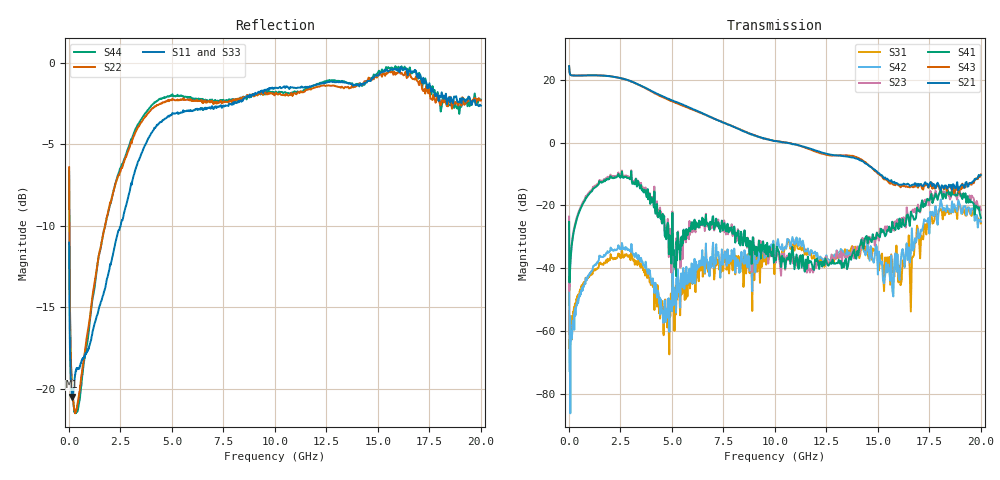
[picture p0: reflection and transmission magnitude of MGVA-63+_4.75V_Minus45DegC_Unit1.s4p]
!Mini-Circuits Laboratory
!S-Parameters
!Model: MGVA-63+
!Run / Lot / Date Code: NA / AH404P001-04 / 1348
!Fixture: NA; TB-561+
!AUTO PORT EXTENSION DONE: PORT<1>=113.62ps; PORT<2>=112.79ps; PORT<3>=112.29ps; PORT<4>=112.3ps
!Network Analyzer: PNA-X N5242A - 423 4 ports;  Serial number: 71256
!Date: 2/10/20114
!S/N: Unit# 1
!Correction: S11(Full 4 Port(1,2,3,4))
!S12(Full 4 Port(1,2,3,4))
!S13(Full 4 Port(1,2,3,4))
!S14(Full 4 Port(1,2,3,4))
!S21(Full 4 Port(1,2,3,4))
!S22(Full 4 Port(1,2,3,4))
!S23(Full 4 Port(1,2,3,4))
!S24(Full 4 Port(1,2,3,4))
!S31(Full 4 Port(1,2,3,4))
!S32(Full 4 Port(1,2,3,4))
!S33(Full 4 Port(1,2,3,4))
!S34(Full 4 Port(1,2,3,4))
!S41(Full 4 Port(1,2,3,4))
!S42(Full 4 Port(1,2,3,4))
!S43(Full 4 Port(1,2,3,4))
!S44(Full 4 Port(1,2,3,4))
!S4P File: Measurements: <S11,S12,S13,S14>,
!<S21,S22,S23,S24>,
!<S31,S32,S33,S34>,
!<S41,S42,S43,S44>:
# Hz S  dB  R 50
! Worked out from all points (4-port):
!   660 points, 10 MHz to 20 GHz, reference 50 ohm
!   strongest paths, dB at 10 MHz, 2.65 GHz, 6.775 GHz, 11.8 GHz, 20 GHz:
!     S21: 24.4, 20.4, 8.5, -2.1, -10.3
!     S43: 24.4, 20.4, 8.4, -2.4, -10.1
!     S41: -25.3, -11.2, -25.9, -38.8, -23.9
!     S23: -23.5, -10.8, -27.0, -40.1, -21.5
!     S42: -37.2, -33.8, -39.3, -34.4, -25.1
!     S31: -35.3, -36.6, -39.3, -36.9, -25.7
!   lowest |S11| = -20.5 dB at 160 MHz (marker M1), VSWR 1.21, Z = 41.5 - j1.74 ohm
!   |S11| at or under -10 dB: start of sweep to 2.51 GHz
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1e7  -11.03 -47.6  -27.90 16.4  -34.26 55.2  -44.23 58.5
     24.40 169.0  -6.41 -29.6  -23.49 70.7  -33.84 74.9
     -35.28 -25.4  -47.59 -54.7  -11.53 -45.2  -27.34 27.3
     -25.26 -18.7  -37.19 -49.8  24.38 168.4  -6.66 -27.9
1.6e8  -20.50 -167.3  -24.52 0.4  -57.68 81.4  -77.38 -133.2
       21.46 169.9  -19.98 -49.8  -31.07 72.1  -58.77 88.3
       -56.38 93.1  -69.22 81.6  -20.51 -166.1  -24.55 0.4
       -31.56 73.5  -60.97 87.1  21.46 170.0  -19.93 -48.9
1.775e9  -13.75 127.6  -23.47 -30.8  -37.84 40.0  -59.76 86.6
         21.34 98.4  -9.87 166.9  -11.63 -33.2  -35.47 48.1
         -38.17 45.7  -64.51 77.8  -13.36 129.2  -23.52 -31.7
         -11.97 -29.3  -35.78 55.1  21.36 97.5  -9.91 164.3
3.15e9  -6.90 88.9  -23.63 -67.9  -37.00 -32.9  -54.02 52.3
        19.23 29.3  -4.50 91.6  -12.25 -146.2  -35.06 -40.8
        -37.52 -27.5  -56.59 61.6  -6.70 85.0  -23.69 -70.2
        -12.75 -141.6  -35.96 -33.8  19.18 27.1  -4.33 90.6
5.5e9  -3.04 36.6  -27.07 -113.8  -54.35 -65.8  -55.31 -0.3
       12.20 -58.3  -2.27 27.3  -33.86 -97.7  -46.12 -60.0
       -44.52 -47.9  -55.45 -5.4  -2.87 28.3  -27.53 -112.7
       -29.77 -95.0  -44.40 -73.0  11.88 -59.9  -2.05 31.7
8.15e9  -2.46 12.8  -29.62 -137.3  -39.74 -135.5  -40.94 -84.8
        4.66 -133.7  -2.24 1.5  -31.26 114.1  -40.53 -147.5
        -38.90 -131.9  -40.67 -83.8  -2.42 2.1  -30.01 -141.3
        -29.69 124.4  -39.39 -141.7  4.69 -136.4  -2.23 6.4
2e10  -2.63 -98.0  -35.55 -133.0  -25.27 -27.5  -20.61 -163.2
      -10.26 19.6  -2.32 -112.7  -21.46 -177.8  -26.03 -42.0
      -25.73 -36.9  -18.97 -175.4  -2.82 -115.2  -27.69 -61.5
      -23.93 -163.1  -25.10 -33.7  -10.12 9.2  -2.26 -107.2
